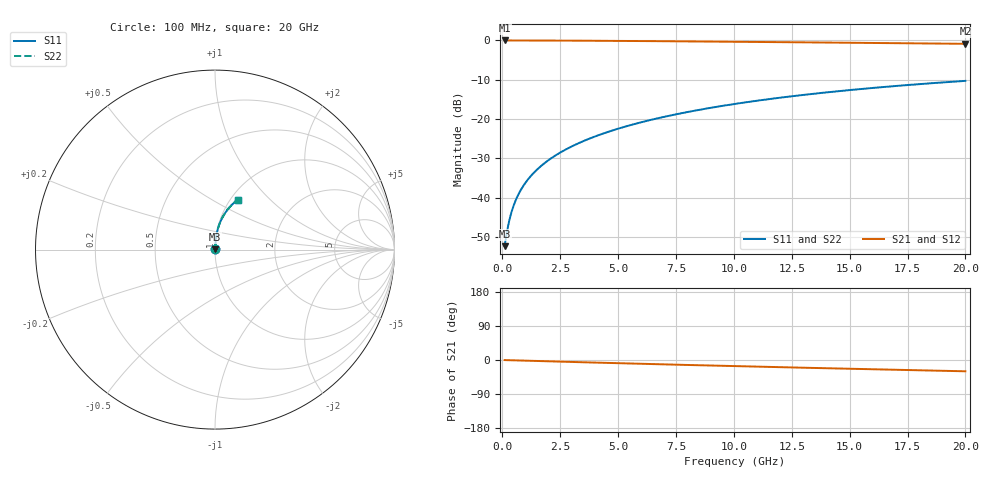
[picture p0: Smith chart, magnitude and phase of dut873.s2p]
! Touchstone file exported from HFSS 2024.1.0
!  File:  C:/UserFiles/LocalFiles/RDL_TSV_Batchsim/temp_RDL_top_873_1779856530.aedt
!  Generated:  12:37:37 PM May 27, 2026
!  Design:  RDL_top
!  Project:  temp_RDL_top_873_1779856530
!  Setup:  Setup1
!  Solution:  Sweep
! Variables:
!  dtsv = 10.80580581um
!  hbump = 3um
!  htsv = 78.41um
!  ldown = 100um
!  lrdl = 400.71um
!  p = 40
!  p1 = 48.89um
!  rhole = 1um
!  t = 450um
!  tdown = 3.915915916um
!  trdl = 4.48um
!  wdown = 15.38538539um
!  wrdl = 19.09um
# GHz S MA R 50.000000
! Terminal data exported
! Port[1] = Box2_T1
! Port[2] = Box2_T2
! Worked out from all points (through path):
!   200 points, 100 MHz to 20 GHz, reference 50 ohm
!   highest |S21| = -0.02 dB at 100 MHz (marker M1); lowest = -0.9 dB at 20 GHz (marker M2)
!   group delay of S21, straight-line fit = 4.11 ps
!   lowest |S11| = -52.4 dB at 100 MHz (marker M3), VSWR 1.00, Z = 50.2 + j0.16 ohm
!   |S11| at or under -10 dB: start of sweep to end of sweep
!   |S22| runs from -52.4 to -10.3 dB; largest |S21 - S12| = 2.6e-15
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0.1  0.002408 41.3  0.9982 -0.2  0.9982 -0.2  0.002408 41.3
! Gamma 0 0 0 0
! Port Impedance 50 0 50 0
0.2  0.003664 60.0  0.9981 -0.4  0.9981 -0.4  0.003665 60.0
0.3  0.005097 68.5  0.998 -0.5  0.998 -0.5  0.005098 68.4
0.4  0.006578 73.0  0.9979 -0.7  0.9979 -0.7  0.006579 73.0
0.5  0.008069 75.8  0.9978 -0.9  0.9978 -0.9  0.00807 75.8
0.7  0.01104 79.0  0.9976 -1.2  0.9976 -1.2  0.01104 78.9
0.8  0.01251 80.0  0.9975 -1.4  0.9975 -1.4  0.01251 79.9
1  0.01543 81.4  0.9972 -1.7  0.9972 -1.7  0.01543 81.4
1.2  0.01834 82.3  0.997 -2.1  0.997 -2.1  0.01834 82.3
1.4  0.02125 83.0  0.9967 -2.4  0.9967 -2.4  0.02125 83.0
1.7  0.02561 83.8  0.9961 -2.9  0.9961 -2.9  0.02561 83.7
2  0.02999 84.2  0.9955 -3.5  0.9955 -3.5  0.02999 84.2
2.7  0.04032 84.8  0.9937 -4.6  0.9937 -4.6  0.04031 84.8
3.5  0.05229 85.0  0.9912 -6.0  0.9912 -6.0  0.05229 85.0
4.2  0.06291 84.8  0.9887 -7.1  0.9887 -7.1  0.06292 84.8
5  0.07523 84.4  0.9854 -8.4  0.9854 -8.4  0.07523 84.5
6.8  0.1035 83.0  0.9772 -11.3  0.9772 -11.3  0.1035 83.0
8.4  0.1291 81.3  0.9692 -13.7  0.9692 -13.7  0.1291 81.3
10.1  0.1564 79.2  0.9604 -16.2  0.9604 -16.2  0.1564 79.3
13.4  0.2087 74.8  0.9426 -20.9  0.9426 -20.9  0.2087 74.8
16.7  0.2587 70.1  0.924 -25.4  0.924 -25.4  0.2588 70.1
20  0.3056 65.5  0.9048 -29.8  0.9048 -29.8  0.3056 65.6
